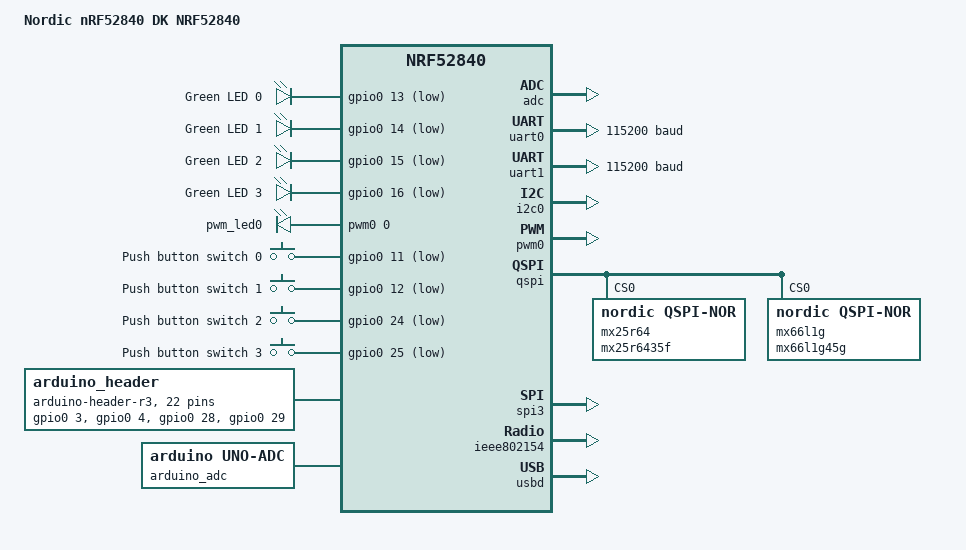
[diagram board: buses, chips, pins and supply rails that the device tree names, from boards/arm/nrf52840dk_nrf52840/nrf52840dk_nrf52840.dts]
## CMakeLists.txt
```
cmake_minimum_required(VERSION 3.20.0)

# Handle custom boilerplate, if defined
if(DEFINED CUSTOM_BOILERPLATE)
    include(${CUSTOM_BOILERPLATE})
    return()
endif()
set(BOARD_ROOT ${CMAKE_CURRENT_SOURCE_DIR})
set(COMMON_PATH "C:/ncs/v2.4.2/modules/hal/nordic/nrfx/samples/common")
include(${COMMON_PATH}/common.cmake)

GET_DEVICE_CONFIG_FILES(${BOARD} boards)

find_package(Zephyr REQUIRED HINTS $ENV{ZEPHYR_BASE})
project(nrfx_example)

target_sources(app PRIVATE src/main.c 
                           src/Json/cJSON.c
                           src/Json/Jsonhandler.c
                           src/BLE/BleHandler.c
						   src/BLE/BleService.c
                           src/RTC/RtcHandler.c
                           src/ADC/AdcHandler.c
                           src/NVS/nvs_flash.c
                           src/SYSTEM/SystemHandler.c
                           src/Timer/Timerhandler.c
                           src/PMIC/PMICHandler.c
                           "C:/ncs/v2.4.2/modules/hal/nordic/nrfx/samples/src/nrfx_saadc/common/saadc_examples_common.c")
target_include_directories(app PRIVATE src/Json 
                                       src/BLE
                                       src/RTC
                                       src/ADC
                                       src/NVS
                                       src/SYSTEM
                                       src/Timer
                                       src/PMIC
                                       ${COMMON_PATH} "C:/ncs/v2.4.2/modules/hal/nordic/nrfx/samples/src/nrfx_saadc/common")
```

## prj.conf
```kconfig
CONFIG_ADC=y
CONFIG_ADC_ASYNC=y
CONFIG_GPIO=y
CONFIG_STDOUT_CONSOLE=y
CONFIG_PRINTK=y
CONFIG_PWM=y
CONFIG_LOG_PRINTK=y
CONFIG_LOG_MODE_IMMEDIATE=y
CONFIG_PWM_LOG_LEVEL_DBG=y
CONFIG_NEWLIB_LIBC=y
CONFIG_ADC_NRFX_SAADC=y
CONFIG_NRFX_SAADC=y
CONFIG_LOG=y
CONFIG_PM=y
CONFIG_PM_DEVICE=y

#RTC lib enabling
CONFIG_I2C=y

CONFIG_BT=y
CONFIG_BT_PERIPHERAL=y
# CONFIG_BT_DEVICE_NAME="VISENSE_PRESSURE_MESH"
# CONFIG_BT_CTLR_ADV_EXT=y
# CONFIG_BT_EXT_ADV=y
CONFIG_BT_CTLR_ADV_DATA_LEN_MAX=225
CONFIG_BT_USER_DATA_LEN_UPDATE=y
# CONFIG_BT_USER_PHY_UPDATE=y
CONFIG_BT_GAP_AUTO_UPDATE_CONN_PARAMS=n
# CONFIG_HEAP_MEM_POOL_SIZE=9216
CONFIG_BT_BUF_ACL_RX_SIZE=488
CONFIG_BT_ATT_PREPARE_COUNT=2
CONFIG_BT_L2CAP_TX_MTU=255

CONFIG_BT_BUF_ACL_TX_COUNT=10
CONFIG_BT_BUF_ACL_TX_SIZE=255
# CONFIG_BT_AUTO_PHY_UPDATE=y
CONFIG_BT_CTLR_DATA_LENGTH_MAX=251

CONFIG_FLASH=y
CONFIG_FLASH_PAGE_LAYOUT=y

CONFIG_NVS=y
CONFIG_NRFX_TIMER1=y


CONFIG_NVS_LOG_LEVEL_DBG=y
CONFIG_REBOOT=y
CONFIG_MPU_ALLOW_FLASH_WRITE=y


CONFIG_BT_DEVICE_NAME="VISENSE_TEST_MESH_PRESSURE"
CONFIG_HEAP_MEM_POOL_SIZE=4096
CONFIG_FLASH_MAP=y
CONFIG_NVS_LOOKUP_CACHE=y
CONFIG_SETTINGS=y
CONFIG_SETTINGS_NVS_NAME_CACHE=y
CONFIG_HWINFO=y
CONFIG_DK_LIBRARY=y
CONFIG_PM_SINGLE_IMAGE=y
CONFIG_PM_PARTITION_SIZE_SETTINGS_STORAGE=0x8000
CONFIG_SOC_FLASH_NRF_PARTIAL_ERASE=y

# Bluetooth configuration
CONFIG_BT_COMPANY_ID=0x1234
CONFIG_BT_L2CAP_TX_BUF_COUNT=8
CONFIG_BT_OBSERVER=y
CONFIG_BT_SETTINGS=y

# Disable unused Bluetooth features
CONFIG_BT_CTLR_DUP_FILTER_LEN=0
CONFIG_BT_CTLR_LE_ENC=n
CONFIG_BT_PHY_UPDATE=n
CONFIG_BT_CTLR_CHAN_SEL_2=n
CONFIG_BT_CTLR_PRIVACY=n

# Bluetooth mesh configuration
CONFIG_BT_MESH=y
CONFIG_BT_MESH_RELAY=y
CONFIG_BT_MESH_FRIEND=y
CONFIG_BT_MESH_ADV_BUF_COUNT=13
CONFIG_BT_MESH_TX_SEG_MAX=22
CONFIG_BT_MESH_RX_SEG_MAX=22
CONFIG_BT_MESH_PB_GATT=y
CONFIG_BT_MESH_GATT_PROXY=y
CONFIG_BT_MESH_PROXY_USE_DEVICE_NAME=y
CONFIG_BT_MESH_DK_PROV=y
CONFIG_BT_MESH_SUBNET_COUNT=2
CONFIG_BT_MESH_APP_KEY_COUNT=3
CONFIG_BT_MESH_CRPL=10
CONFIG_BT_MESH_MSG_CACHE_SIZE=32

CONFIG_BT_MESH_RELAY_RETRANSMIT_COUNT=2
CONFIG_BT_MESH_TX_SEG_MSG_COUNT=5
CONFIG_BT_MESH_RX_SEG_MSG_COUNT=5
CONFIG_BT_MESH_TX_SEG_RETRANS_COUNT=4



CONFIG_BT_MESH_MODEL_KEY_COUNT=1
CONFIG_BT_MESH_MODEL_GROUP_COUNT=1
CONFIG_BT_MESH_APP_KEY_COUNT=3
CONFIG_BT_MESH_SEG_BUFS=7168
```

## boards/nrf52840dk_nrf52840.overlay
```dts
/*
 * SPDX-License-Identifier: Apache-2.0
 *
 * Copyright (c) 2022 Nordic Semiconductor ASA
 */


/ {
	zephyr,user {
		io-channels = <&adc 0>, <&adc 1>, <&adc 7>;
	};
};

&adc {
	#address-cells = <1>;
	#size-cells = <0>;

	channel@0 {
		reg = <0>;
		zephyr,gain = "ADC_GAIN_1_6";
		zephyr,reference = "ADC_REF_INTERNAL";
		zephyr,acquisition-time = <ADC_ACQ_TIME_DEFAULT>;
		zephyr,input-positive = <NRF_SAADC_AIN1>; /* P0.03 */
		zephyr,resolution = <12>;
	};

	channel@1 {
		reg = <1>;
		zephyr,gain = "ADC_GAIN_1_6";
		zephyr,reference = "ADC_REF_INTERNAL";
		zephyr,acquisition-time = <ADC_ACQ_TIME_DEFAULT>;
		zephyr,input-positive = <NRF_SAADC_VDD>;
		zephyr,resolution = <14>;
		zephyr,oversampling = <8>;
	};

	channel@7 {
		reg = <7>;
		zephyr,gain = "ADC_GAIN_1_5";
		zephyr,reference = "ADC_REF_VDD_1_4";
		zephyr,vref-mv = <750>;
		zephyr,acquisition-time = <ADC_ACQ_TIME_DEFAULT>;
		zephyr,input-positive = <NRF_SAADC_AIN6>; /* P0.30 */
		zephyr,input-negative = <NRF_SAADC_AIN7>; /* P0.31 */
		zephyr,resolution = <12>;
	};
};

&arduino_adc {
	io-channel-map = <0 &adc 1>;
};

&i2c0 { /* SDA P0.26, SCL P0.27 */
	status = "okay";
	ds3231: ds3231@68 {
		compatible = "maxim,ds3231";
		reg = <0x68>;
		isw-gpios = <&gpio0 0 (GPIO_PULL_UP | GPIO_ACTIVE_LOW)>;
	};
};
&timer0 {
    status = "okay";
};

&i2c1 {
	status = "okay"; 
	npm1300_ek_pmic: pmic@6b {
		compatible = "nordic,npm1300";
		reg = <0x6b>;

		npm1300_ek_gpio: gpio-controller {
			compatible = "nordic,npm1300-gpio";
			gpio-controller;
			#gpio-cells = <2>;
			ngpios = <5>;
		};

		npm1300_ek_regulators: regulators {
			compatible = "nordic,npm1300-regulator";

			/* limits are set to min/max allowed values */
			npm1300_ek_buck1: BUCK1 {
				regulator-min-microvolt = <1800000>;
				regulator-max-microvolt = <3300000>;
			};

			npm1300_ek_buck2: BUCK2 {
				regulator-min-microvolt = <1000000>;
				regulator-max-microvolt = <3300000>;
				regulator-init-microvolt = <3300000>;
				retention-microvolt = <2500000>;
				enable-gpios = <&npm1300_ek_gpio 1 GPIO_ACTIVE_LOW>;
				retention-gpios = <&npm1300_ek_gpio 2 GPIO_ACTIVE_HIGH>;
				pwm-gpios = <&npm1300_ek_gpio 2 GPIO_ACTIVE_LOW>;
			};

			npm1300_ek_ldo1: LDO1 {
				regulator-min-microvolt = <1000000>;
				regulator-max-microvolt = <3300000>;
				enable-gpios = <&npm1300_ek_gpio 2 GPIO_ACTIVE_LOW>;
			};

			npm1300_ek_ldo2: LDO2 {
				regulator-min-microvolt = <1000000>;
				regulator-max-microvolt = <3300000>;
				enable-gpios = <&npm1300_ek_gpio 2 GPIO_ACTIVE_LOW>;
			};
		};

		npm1300_ek_charger: charger {
			compatible = "nordic,npm1300-charger";
			
			term-microvolt = <4150000>;
			term-warm-microvolt = <4000000>;
			current-microamp = <150000>;
			dischg-limit-microamp = <1000000>;
			vbus-limit-microamp = <500000>;
			thermistor-ohms = <10000>;
			thermistor-beta = <3380>;
			charging-enable;
		};
	};
};
```

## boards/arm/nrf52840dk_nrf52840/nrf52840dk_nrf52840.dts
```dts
/*
 * Copyright (c) 2017 Linaro Limited
 *
 * SPDX-License-Identifier: Apache-2.0
 */

/dts-v1/;
#include <nordic/nrf52840_qiaa.dtsi>
#include "nrf52840dk_nrf52840-pinctrl.dtsi"

/ {
	model = "Nordic nRF52840 DK NRF52840";
	compatible = "nordic,nrf52840-dk-nrf52840";

	chosen {
		zephyr,console = &uart0;
		zephyr,shell-uart = &uart0;
		zephyr,uart-mcumgr = &uart0;
		zephyr,bt-mon-uart = &uart0;
		zephyr,bt-c2h-uart = &uart0;
		zephyr,sram = &sram0;
		zephyr,flash = &flash0;
		zephyr,code-partition = &slot0_partition;
		zephyr,ieee802154 = &ieee802154;
	};

	leds {
		compatible = "gpio-leds";
		led0: led_0 {
			gpios = <&gpio0 13 GPIO_ACTIVE_LOW>;
			label = "Green LED 0";
		};
		led1: led_1 {
			gpios = <&gpio0 14 GPIO_ACTIVE_LOW>;
			label = "Green LED 1";
		};
		led2: led_2 {
			gpios = <&gpio0 15 GPIO_ACTIVE_LOW>;
			label = "Green LED 2";
		};
		led3: led_3 {
			gpios = <&gpio0 16 GPIO_ACTIVE_LOW>;
			label = "Green LED 3";
		};
	};
	
	powerpins {
		testpin0: testpin_0 {
			compatible = "eac,testpin";
			gpios = <&gpio0 27 GPIO_ACTIVE_LOW>;
			status = "okay";
		};
		testpin1: testpin_1 {
			compatible = "eac,testpin";
			gpios = <&gpio0 26 GPIO_ACTIVE_LOW>;
			status = "okay";
		};
	};
	
	pwmleds {
		compatible = "pwm-leds";
		pwm_led0: pwm_led_0 {
			pwms = <&pwm0 0 PWM_MSEC(20) PWM_POLARITY_INVERTED>;
		};
	};

	buttons {
		compatible = "gpio-keys";
		button0: button_0 {
			gpios = <&gpio0 11 (GPIO_PULL_UP | GPIO_ACTIVE_LOW)>;
			label = "Push button switch 0";
		};
		button1: button_1 {
			gpios = <&gpio0 12 (GPIO_PULL_UP | GPIO_ACTIVE_LOW)>;
			label = "Push button switch 1";
		};
		button2: button_2 {
			gpios = <&gpio0 24 (GPIO_PULL_UP | GPIO_ACTIVE_LOW)>;
			label = "Push button switch 2";
		};
		button3: button_3 {
			gpios = <&gpio0 25 (GPIO_PULL_UP | GPIO_ACTIVE_LOW)>;
			label = "Push button switch 3";
		};
	};

	arduino_header: connector {
		compatible = "arduino-header-r3";
		#gpio-cells = <2>;
		gpio-map-mask = <0xffffffff 0xffffffc0>;
		gpio-map-pass-thru = <0 0x3f>;
		gpio-map = <0 0 &gpio0 3 0>,	/* A0 */
			   <1 0 &gpio0 4 0>,	/* A1 */
			   <2 0 &gpio0 28 0>,	/* A2 */
			   <3 0 &gpio0 29 0>,	/* A3 */
			   <4 0 &gpio0 30 0>,	/* A4 */
			   <5 0 &gpio0 31 0>,	/* A5 */
			   <6 0 &gpio1 1 0>,	/* D0 */
			   <7 0 &gpio1 2 0>,	/* D1 */
			   <8 0 &gpio1 3 0>,	/* D2 */
			   <9 0 &gpio1 4 0>,	/* D3 */
			   <10 0 &gpio1 5 0>,	/* D4 */
			   <11 0 &gpio1 6 0>,	/* D5 */
			   <12 0 &gpio1 7 0>,	/* D6 */
			   <13 0 &gpio1 8 0>,	/* D7 */
			   <14 0 &gpio1 10 0>,	/* D8 */
			   <15 0 &gpio1 11 0>,	/* D9 */
			   <16 0 &gpio1 12 0>,	/* D10 */
			   <17 0 &gpio1 13 0>,	/* D11 */
			   <18 0 &gpio1 14 0>,	/* D12 */
			   <19 0 &gpio1 15 0>,	/* D13 */
			   <20 0 &gpio0 26 0>,	/* D14 */
			   <21 0 &gpio0 27 0>;	/* D15 */
	};

	arduino_adc: analog-connector {
		compatible = "arduino,uno-adc";
		#io-channel-cells = <1>;
		io-channel-map = <0 &adc 1>;	/* A0 = P0.3 = AIN1 */
	};

	/* These aliases are provided for compatibility with samples */
	aliases {
		led0 = &led0;
		led1 = &led1;
		led2 = &led2;
		led3 = &led3;
		pwm-led0 = &pwm_led0;
		testpin0 = &testpin0;
		testpin1 = &testpin1;
		sw0 = &button0;
		sw1 = &button1;
		sw2 = &button2;
		sw3 = &button3;
		bootloader-led0 = &led0;
		mcuboot-button0 = &button0;
		mcuboot-led0 = &led0;
		watchdog0 = &wdt0;
		spi-flash0 = &mx25r64;
		spi-flash1 = &mx66l1g;
	};
};

&adc {
	status = "okay";
};

&gpiote {
	status = "okay";
};

&gpio0 {
	status = "okay";
};

&gpio1 {
	status = "okay";
};

&uart0 {
	compatible = "nordic,nrf-uarte";
	status = "okay";
	current-speed = <115200>;
	pinctrl-0 = <&uart0_default>;
	pinctrl-1 = <&uart0_sleep>;
	pinctrl-names = "default", "sleep";
};

arduino_serial: &uart1 {
	current-speed = <115200>;
	pinctrl-0 = <&uart1_default>;
	pinctrl-1 = <&uart1_sleep>;
	pinctrl-names = "default", "sleep";
};

arduino_i2c: &i2c0 {
	compatible = "nordic,nrf-twi";
	status = "okay";
	pinctrl-0 = <&i2c0_default>;
	pinctrl-1 = <&i2c0_sleep>;
	pinctrl-names = "default", "sleep";
};

&i2c1 {
	compatible = "nordic,nrf-twi";
	/* Cannot be used together with spi1. */
	/* status = "okay"; */
	pinctrl-0 = <&i2c1_default>;
	pinctrl-1 = <&i2c1_sleep>;
	pinctrl-names = "default", "sleep";
};

&pwm0 {
	status = "okay";
	pinctrl-0 = <&pwm0_default>;
	pinctrl-1 = <&pwm0_sleep>;
	pinctrl-names = "default", "sleep";
};

&spi0 {
	compatible = "nordic,nrf-spi";
	/* Cannot be used together with i2c0. */
	/* status = "okay"; */
	pinctrl-0 = <&spi0_default>;
	pinctrl-1 = <&spi0_sleep>;
	pinctrl-names = "default", "sleep";
};

&spi1 {
	compatible = "nordic,nrf-spi";
	//status = "okay";
	pinctrl-0 = <&spi1_default>;
	pinctrl-1 = <&spi1_sleep>;
	pinctrl-names = "default", "sleep";
};

&spi2 {
	compatible = "nordic,nrf-spi";
	status = "disabled";
	pinctrl-0 = <&spi2_default>;
	pinctrl-1 = <&spi2_sleep>;
	pinctrl-names = "default", "sleep";
};

&qspi {
	status = "okay";
	pinctrl-0 = <&qspi_default>;
	pinctrl-1 = <&qspi_sleep>;
	pinctrl-names = "default", "sleep";
	mx25r64: mx25r6435f@0 {
		compatible = "nordic,qspi-nor";
		reg = <0>;
		/* MX25R64 supports only pp and pp4io */
		writeoc = "pp4io";
		/* MX25R64 supports all readoc options */
		readoc = "read4io";
		sck-frequency = <8000000>;
		jedec-id = [c2 28 17];
		sfdp-bfp = [
			e5 20 f1 ff  ff ff ff 03  44 eb 08 6b  08 3b 04 bb
			ee ff ff ff  ff ff 00 ff  ff ff 00 ff  0c 20 0f 52
			10 d8 00 ff  23 72 f5 00  82 ed 04 cc  44 83 68 44
			30 b0 30 b0  f7 c4 d5 5c  00 be 29 ff  f0 d0 ff ff
		];
		size = <67108864>;
		has-dpd;
		t-enter-dpd = <10000>;
		t-exit-dpd = <35000>;
	};

	mx66l1g: mx66l1g45g@0 {
		compatible = "nordic,qspi-nor";
		reg = <0>;
		/* MX66L1G supports only pp and pp4io */
		writeoc = "pp4io";
		/* MX66L1G supports all readoc options */
		readoc = "read4io";
		sck-frequency = <8000000>;
		//label = "MX66L1G";
		jedec-id = [c2 20 1b];
		sfdp-bfp = [
			e5 20 fb ff  ff ff ff 3f  44 eb 08 6b  08 3b 04 bb
			fe ff ff ff  ff ff 00 ff  ff ff 44 eb  0c 20 0f 52
			10 d8 00 ff  d6 49 c5 00  82 df 04 e3  44 03 67 38
			30 b0 30 b0  f7 bd d5 5c  4a 9e 29 ff  f0 50 f9 85
		];
		size = <1073741824>;
	};	
};

arduino_spi: &spi3 {
	status = "okay";
	cs-gpios = <&arduino_header 16 GPIO_ACTIVE_LOW>; /* D10 */
	pinctrl-0 = <&spi3_default>;
	pinctrl-1 = <&spi3_sleep>;
	pinctrl-names = "default", "sleep";
};

&ieee802154 {
	status = "okay";
};

&flash0 {

	partitions {
		compatible = "fixed-partitions";
		#address-cells = <1>;
		#size-cells = <1>;

		boot_partition: partition@0 {
			label = "mcuboot";
			reg = <0x00000000 0x0000C000>;
		};
		slot0_partition: partition@c000 {
			label = "image-0";
			reg = <0x0000C000 0x00076000>;
		};
		slot1_partition: partition@82000 {
			label = "image-1";
			reg = <0x00082000 0x00076000>;
		};

		/*
		 * The flash starting at 0x000f8000 and ending at
		 * 0x000fffff is reserved for use by the application.
		 */

		/*
		 * Storage partition will be used by FCB/LittleFS/NVS
		 * if enabled.
		 */
		storage_partition: partition@f8000 {
			label = "storage";
			reg = <0x000f8000 0x00008000>;
		};
	};
};

zephyr_udc0: &usbd {
	compatible = "nordic,nrf-usbd";
	status = "okay";
};
```

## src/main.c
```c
/**
 * @file main.c
 * @brief Main function
 * @date 2023-21-09
 * @author Jeslin
 * @note  This is a test code for pressure sensor.
*/


/*******************************INCLUDES****************************************/
#include "Common.h"
#include "BleHandler.h"
#include "AdcHandler.h"
#include "BleService.h"
#include "JsonHandler.h"
#include "RtcHandler.h"
#include "SystemHandler.h"
#include "nvs_flash.h"
#include "TimerHandler.h"
#include "MeshService.h"
#include "MeshHandler.h"


/*******************************MACROS****************************************/
// #define SLEEP_ENABLE  //Uncomment this line to enable sleep functionality
#define PRESSURE_SENSOR         0x01
// diagnostics
#define SENSOR_DIAGNOSTICS       (1<<2)
#define SENSOR_STATUS_OK        ~(1<<2)
#define TIME_STAMP_ERROR         (1<<1)
#define TIME_STAMP_OK           ~(1<<1)

/*******************************TYPEDEFS****************************************/

/*******************************GLOBAL VARIABLES********************************/
_sConfigData sConfigData = {0};
struct nvs_fs fs;    //file system
struct nvs_fs sConfigFs;
uint8_t *pucAdvertisingdata = NULL;
uint32_t diagnostic_data = 0;
uint32_t pressureMax = 929; //analog reading of pressure transducer at 100psi
uint32_t pressureZero = 110; //analog reading of pressure transducer at 0psi


/*******************************FUNCTION DECLARATIONS********************************/
extern void SetFileSystem(struct nvs_fs *fs);
static bool UpdateConfigurations();
static bool InitPowerManager();
static bool InitBle();
static void InitDataPartition();
static bool CheckForConfigChange();
static bool InitAllModules();
static void PrintBanner();
static bool GetTimeFromRTC();
static bool WriteConfiguredtimeToRTC(void);
static void SendConfigDataToApp();
static bool SendHistoryDataToApp(uint16_t uPressureValue, char *pcBuffer, uint16_t unLength);

/*******************************FUNCTION DEFINITIONS********************************/

/**
 * @brief  Main function
 * @return int
*/
int main(void)
{
    uint16_t unPressureResult =0;
    uint32_t unPressureRaw = 0;
    char cbuffer[50] = {0};
    char *cJsonBuffer= NULL;
    cJSON *pMainObject = NULL;
    long long llEpochNow = 0;
    int64_t Timenow = 0;

    PrintBanner();
    printk("VISENSE_PRESSURE_FIRMWARE_VERSION: %s\n\r", VISENSE_PRESSURE_SENSOR_FIRMWARE_VERSION);
    k_msleep(1000);
    printk("FEATURES: %s", VISENSE_PRESSURE_SENSOR_FEATURES);
    k_msleep(1000);
    printk("\n\r");

   if (!InitAllModules())
   {
        printk("ERROR: Initialising all modules failed \n\r");
   }

    if (!CheckForConfigChange())
    {
        printk("ERROR: Config Check failed \n\r");
    }

    if (!GetTimeFromRTC())
    {
        printk("WARN: Getting time from RTC failed\n\r");
    }

    while (1) 
    {
        #ifdef SLEEP_ENABLE
            Timenow = sys_clock_tick_get();

            while(sys_clock_tick_get() - Timenow < (ALIVE_TIME * TICK_RATE))
            {
        #endif    
            if (UpdateConfigurations())
            {
                printk("INFO: Updating config \n\r");           
            }

            WriteConfiguredtimeToRTC();
            SendConfigDataToApp();

            if (GetPressureReading(&unPressureResult, &unPressureRaw))
            {
                printk("PressureRaw: %d\n", unPressureRaw);
            }

            pMainObject = cJSON_CreateObject();
            pressureZero = GetPressureZero();
            pressureMax = GetPressureMax();

            if (GetCurrentTime(&llEpochNow))
            {
                printk("CurrentTime=%llu\n\r", llEpochNow);
            }
            AddItemtoJsonObject(&pMainObject, NUMBER, "ADCValue", &unPressureRaw, sizeof(uint16_t));
            AddItemtoJsonObject(&pMainObject, NUMBER, "TS", &llEpochNow, sizeof(long long));

            if (unPressureRaw > pressureZero && unPressureRaw < ADC_MAX_VALUE)
            {
                memset(cbuffer, '\0',sizeof(cbuffer));
                
                sprintf(cbuffer,"%dpsi", unPressureResult);
                printk("Data:%s\n", cbuffer);
                AddItemtoJsonObject(&pMainObject, STRING, "Pressure", (uint8_t*)cbuffer, (uint8_t)strlen(cbuffer));
                diagnostic_data = diagnostic_data & SENSOR_STATUS_OK;

            }
            else if(unPressureRaw > 100 && unPressureRaw < 1023) //
            {
                memset(cbuffer, '\0',sizeof(cbuffer));
                unPressureResult = 0;
                sprintf(cbuffer,"%dpsi", unPressureResult);
                AddItemtoJsonObject(&pMainObject, STRING, "Pressure", (uint8_t*)cbuffer, (uint8_t)strlen(cbuffer));
                diagnostic_data = diagnostic_data & SENSOR_STATUS_OK;  
            }
            else if(unPressureRaw < 100 || unPressureRaw > 1023)
            {
                diagnostic_data = diagnostic_data | SENSOR_DIAGNOSTICS;
            }
            else
            {
                // NO OP
            }
        
            AddItemtoJsonObject(&pMainObject, NUMBER, "DIAG", &diagnostic_data, sizeof(uint32_t));
            cJsonBuffer = cJSON_Print(pMainObject);
            pucAdvertisingdata[2] = PRESSURE_SENSOR;
            pucAdvertisingdata[3] = (uint8_t)strlen(cJsonBuffer);
            memcpy(&pucAdvertisingdata[4], cJsonBuffer, strlen(cJsonBuffer));

                
            SendHistoryDataToApp(unPressureResult, cJsonBuffer, strlen(cJsonBuffer)); //save to flash only if Mobile Phone is NOT connected
            
            printk("JSON:\n*%s#\n", cJsonBuffer);

            if(IsNotificationenabled())
            {
                VisenseSensordataNotify(pucAdvertisingdata+2, ADV_BUFF_SIZE);
            }
            if (IsSupervisorLiveNotifyEnable())
            {
                if (SendLiveDataToSupervisor(cJsonBuffer, strlen(cJsonBuffer)))
                {
                    printk("INFO: LiveData sent to Supervisor\n\r");
                }
                
            }
            
#ifdef EXTENDED_ADV
            else if (!IsNotificationenabled() && !IsConnected())
            {
                UpdateAdvertiseData();
                StartAdvertising();
            }
#endif
            else
            {
                //NO OP
            }
            
            if ((sConfigData.flag & (1 << 4))) //check whether config data is read from the flash / updated from mobile
            {
                diagnostic_data = diagnostic_data & CONFIG_WRITE_OK; //added a diagnostic information to the application
            }
            else
            {
                diagnostic_data = diagnostic_data | CONFIG_WRITE_FAILED; //added a diagnostic information to the application
            }
            
            memset(pucAdvertisingdata, 0, ADV_BUFF_SIZE);
            cJSON_Delete(pMainObject);
            cJSON_free(cJsonBuffer);

        #ifndef SLEEP_ENABLE 
            k_sleep(K_MSEC(1000));
        #endif
        #ifdef SLEEP_ENABLE
        }
        EnterSleepMode(GetSleepTime());
        ExitSleepMode();
        printk("INFO: Syncing time with RTC\n\r");
        if (!GetTimeFromRTC())
        {
            printk("WARN: Getting time from RTC failed\n\r");
        }
        #endif
    }
}


/**
 * @brief Update Configurations if any config value is written via Ble
 * @param None
 * @return true for success
*/
static bool UpdateConfigurations()
{
    uint32_t ulRetCode = 0;
    bool bRetVal = false;

    if (IsPressureZeroSet() || IsPressureMaxSet() || IsSleepTimeSet() || IsPressureMinSet())
    {
        if (IsPressureZeroSet() && IsPressureMaxSet())
        {
            sConfigData.pressureZero = GetPressureZero();
            sConfigData.pressureMax = GetPressureMax();
            SetPressureZeroSetStatus(false);
            SetPressureMaxSetStatus(false);
        }
        if (IsSleepTimeSet())
        {
            sConfigData.sleepTime = GetSleepTime();
            SetSleepTimeSetStataus(false);
        }
        if (IsPressureMinSet())
        {
            sConfigData.pressureMin = GetPressureMin();
            SetPressureMinSetStatus(false);
        }

        sConfigData.flag = sConfigData.flag | (1 << 0); //set flag for config data update and store it into flash

        do
        {
            ulRetCode = nvs_write(&sConfigFs, 0, (char *)&sConfigData, sizeof(_sConfigData));

            if (ulRetCode < 0)
            {
                printk("ERROR: Write failed with ret code:%d\n", ulRetCode);
                break;
            }

            k_msleep(100);
            ulRetCode = nvs_read(&sConfigFs, 0, (char *)&sConfigData, sizeof(_sConfigData));

            if (ulRetCode < 0)
            {
                printk("ERROR: Write failed with ret code:%d\n", ulRetCode);
                break;
            }
            bRetVal = true;
        } while (0);
    }

    return bRetVal;
}

/**
 * @brief Sending history data over ble
 * @param pcBuffer : data to send
 * @param unLength : Length of data
 * @return None
*/
static bool SendHistoryDataToApp(uint16_t uPressureValue, char *pcBuffer, uint16_t unLength)
{

    char cBuffer[ADV_BUFF_SIZE];
    bool bRetval = false;
    uint32_t *uFlashIdx = NULL;


    uFlashIdx = GetFlashCounter();

    if (pcBuffer)
    {
        if(!IsConnected() && (uPressureValue >= GetPressureMin()) && !IsSupervisorLiveNotifyEnable()) // && sConfigData.flag & (1 << 4) can include this condition also if config is mandetory during initial setup
        {
            
            memset(cBuffer, '\0', sizeof(cBuffer));
            memcpy(cBuffer, pcBuffer, unLength);
            if(writeJsonToExternalFlash(cBuffer, *uFlashIdx, WRITE_ALIGNMENT))
            {
                // NO OP
            }
            k_msleep(50);
            if (readJsonFromExternalFlash(cBuffer, *uFlashIdx, WRITE_ALIGNMENT))
            {
                printk("\nId: %d, Stored_Data: %s\n", *uFlashIdx, cBuffer);
            }
            *uFlashIdx = *uFlashIdx + 1;
            sConfigData.flashIdx = *uFlashIdx;
            nvs_write(&sConfigFs, 0, (char *)&sConfigData, sizeof(_sConfigData));
            if(*uFlashIdx>= NUMBER_OF_ENTRIES)
            {
                *uFlashIdx = 0;
            }
        }
 

        // if(IshistoryNotificationenabled() && IsConnected())
        // {
        //     printk("In history notif\n\r");
        //     if (VisenseHistoryDataNotify(*uFlashIdx))
        //     {
        //         *uFlashIdx = 0;
        //         sConfigData.flashIdx = *uFlashIdx;
        //         nvs_write(&sConfigFs, 0, (char *)&sConfigData, sizeof(_sConfigData));
        //     } 
        // }

        bRetval = true;
    }

    return bRetval;
}

/**
 * @brief send config data to application over ble
 * @param None
 * @return None
*/
static void SendConfigDataToApp()
{
    cJSON *pConfigObject = NULL;
    char *cJsonConfigBuffer = NULL;
    uint32_t ulSleepTime = 0;
    char cBuffer[30] =  {0};
    uint32_t unPressureMin = 0;

    pConfigObject = cJSON_CreateObject();
    ulSleepTime = GetSleepTime();
    unPressureMin = (uint32_t)GetPressureMin();
    strcpy(cBuffer, VISENSE_PRESSURE_SENSOR_FIRMWARE_VERSION);
    AddItemtoJsonObject(&pConfigObject, NUMBER, "PressureZero", &pressureZero, sizeof(uint32_t));
    AddItemtoJsonObject(&pConfigObject, NUMBER, "PressureMax", &pressureMax, sizeof(uint32_t));
    AddItemtoJsonObject(&pConfigObject, STRING, "VERSION", cBuffer, strlen(cBuffer));
    AddItemtoJsonObject(&pConfigObject, NUMBER, "PressureMin", &unPressureMin, sizeof(uint32_t));
    memset(cBuffer, 0, sizeof(cBuffer));
    sprintf(cBuffer, "%ds", ulSleepTime);
    AddItemtoJsonObject(&pConfigObject, STRING, "SLEEP", cBuffer, strlen(cBuffer));
    cJsonConfigBuffer = cJSON_Print(pConfigObject);
    printk("ConfigJSON:\n%s\n", cJsonConfigBuffer);

    if (IsConfigNotifyEnabled())
    {
        VisenseConfigDataNotify(cJsonConfigBuffer, (uint16_t)strlen(cJsonConfigBuffer));
    }

    cJSON_free(cJsonConfigBuffer);
    cJSON_Delete(pConfigObject);
}

/**
 * @brief Write the configured time from BLE to RTC
 * @param None
 * @return true for success
*/
static bool WriteConfiguredtimeToRTC(void)
{
    bool bRetVal = false;
    int RetCode = 0;

    if (GetTimeUpdateStatus())
    {
        if (InitRtc())
        {
            SetTimeUpdateStatus(false); 
            sConfigData.flag = sConfigData.flag | (1 << 4); //set flag for timestamp config data update and store it into flash
            RetCode = nvs_write(&sConfigFs, 0, (char *)&sConfigData, sizeof(_sConfigData));
            if(RetCode < 0)
            {
                diagnostic_data = diagnostic_data | CONFIG_WRITE_FAILED;
            }
            else
            {
                diagnostic_data = diagnostic_data & CONFIG_WRITE_OK;
                diagnostic_data = diagnostic_data & TIME_STAMP_OK;
                printk("Time updated\n");
                bRetVal = true;
            }
        }
        else
        {
            diagnostic_data = diagnostic_data | TIME_STAMP_ERROR;
        }
    }

    return bRetVal;
}

/**
 * @brief Getting time from RTC
 * @param None
 * @return true for success
*/
static bool GetTimeFromRTC()
{
    long long llEpochNow = 0;
    bool bRetVal = false;

    if (GetCurrenTimeInEpoch(&llEpochNow))
    {
        printk("CurrentTime=%llu\n\r", llEpochNow);
        SetCurrentTime(llEpochNow);
        diagnostic_data = diagnostic_data & TIME_STAMP_OK;
        bRetVal = true;
    }
    else
    {
        diagnostic_data = diagnostic_data | TIME_STAMP_ERROR;
    }

    return bRetVal;
}

/**
 * @brief Initialise power manager module
 * @param None
 * @return true for success
*/
static bool InitPowerManager()
{
    bool bRetVal = false;

    bRetVal = SetPMState();

    return bRetVal;
}

/**
 * @brief Initialise BLE functions
 * @param None
 * @return true for success
*/
static bool InitBle()
{
    bool bRetVal = false;
    int nError = 0;

    pucAdvertisingdata = GetAdvertisingBuffer();

    do
    {
        if (pucAdvertisingdata == NULL)
        {
            break;
        }

        if (!EnableBLE())
        {
            printk("Bluetooth init failed (err %d)\n", nError);
            break;
        }
#ifdef EXTENDED_ADV
        nError = InitExtendedAdv();
        
        if (nError) 
        {
            printk("Advertising failed to create (err %d)\n", nError);
            break;
        }
        StartAdvertising();
#else
        // nError = StartAdvertising();
        // if (nError)
        // {
        //     printk("Advertising failed to create (err %d)\n", nError);
        //     break;
        // }
#endif
        bRetVal = true;
    } while (0);
    
    return bRetVal;
}

/**
 * @brief initialise data partitions
 * @param None
 * @return None
*/
static void InitDataPartition()
{
    nvs_initialisation(&fs, DATA_FS); 
    SetFileSystem(&fs);
}

/**
 * @brief Check for config change and update value from flash
 * @param None
 * @return true for success
*/
static bool CheckForConfigChange()
{
    uint32_t ulRetCode = 0;
    bool bRetVal = false;
    uint32_t *uFlashIdx = NULL;

    uFlashIdx = GetFlashCounter();

    nvs_initialisation(&sConfigFs, CONFIG_DATA_FS); 
    k_msleep(100);
    ulRetCode = readJsonToFlash(&sConfigFs, 0, 0, (char *)&sConfigData, sizeof(sConfigData)); // read config params from the flash
    if(sConfigData.flag == 0) 
    {
        printk("\n\rError occured while reading config data: %d\n", ulRetCode);
        diagnostic_data = diagnostic_data | CONFIG_WRITE_FAILED; // flag will shows error while reading config data from flash and added to the application
        EraseExternalFlash(SECTOR_COUNT);
    }
    else
    {
        SetPressureZero(sConfigData.pressureZero);       
        SetPressureMax(sConfigData.pressureMax);
        SetSleepTime(sConfigData.sleepTime);
        *uFlashIdx = sConfigData.flashIdx;
        SetPressureMin(sConfigData.pressureMin);
        printk("PressureZero = %d, PressureMax = %d, sConfigFlag %d ,flashIdx = %d\n",
                                     sConfigData.pressureZero, 
                                     sConfigData.pressureMax,
                                     sConfigData.flag,
                                     sConfigData.flashIdx); //get all the config params from the flash if a reboot occures
        diagnostic_data = diagnostic_data & CONFIG_WRITE_OK;

        bRetVal = true;
    }

    return bRetVal;
}

/**
 * @brief Init all modules RTC, BLE,.. etc
 * @param None
 * @return true for success
*/
static bool InitAllModules()
{
    bool bRetVal = false;

    do
    {
       if(!InitPowerManager()) 
       {
            printk("ERROR: Init PM failed\n\r");
            break;
       }
       InitTimer();
       InitADC();
       k_sleep(K_TICKS(100));

    //    InitDataPartition();

       if (!InitBle())
       {
            printk("ERROR: Init BLE failed\n\r");
            break;       
       }
       bRetVal = true;
    } while (0);
    
    return bRetVal;
}

/**
 * @brief  printing visense banner
 * @param  None
 * @return None
*/
static void PrintBanner()
{
    printk("\n\r");
    printk("'##::::'##:'####::'######::'########:'##::: ##::'######::'########:\n\r");
    k_msleep(50);
    printk("##:::: ##:. ##::'##... ##: ##.....:: ###:: ##:'##... ##: ##.....::\n\r");
    k_msleep(50);
    printk("##:::: ##:: ##:: ##:::..:: ##::::::: ####: ##: ##:::..:: ##:::::::\n\r");
    k_msleep(50);
    printk("##:::: ##:: ##::. ######:: ######::: ## ## ##:. ######:: ######:::\n\r");
    k_msleep(50);
    printk(". ##:: ##::: ##:::..... ##: ##...:::: ##. ####::..... ##: ##...::::\n\r");
    k_msleep(50);
    printk(":. ## ##:::: ##::'##::: ##: ##::::::: ##:. ###:'##::: ##: ##:::::::\n\r");
    k_msleep(50);
    printk("::. ###::::'####:. ######:: ########: ##::. ##:. ######:: ########:\n\r");
    k_msleep(50);
    printk(":::...:::::....:::......:::........::..::::..:::......:::........::\n\r");
    k_msleep(50);
    printk("\n\r");
}
```

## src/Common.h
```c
/**
 * @file    : Common.h 
 * @brief   : File containing common headers version 
 * @author  : Adhil
 * @date    : 30-10-2023
 * @note 
*/

#ifndef _COMMON_H
#define _COMMON_H

/***************************************INCLUDES*********************************/
#include <zephyr/kernel.h>
#include <zephyr/drivers/gpio.h>
#include <zephyr/devicetree.h>
#include <zephyr/device.h>
#include <zephyr/sys/printk.h>
#include <zephyr/sys/util.h>
#include <nrfx_example.h>
#include <nrfx_log.h>
#include <stdlib.h>
#include <stdio.h>
#include <zephyr/sys/reboot.h>

/***************************************MACROS**********************************/
#define VISENSE_PRESSURE_SENSOR_FIRMWARE_VERSION     "0.0.1"
#define VISENSE_PRESSURE_SENSOR_FEATURES             "Configurable Sleep Time\n\r\t  Configurable Thresholds\n\r\t  Supports RTC\n\r\t  Supports 100 writes of history\n\r\t  Supports diagnostics\n\r" 

#endif
```
